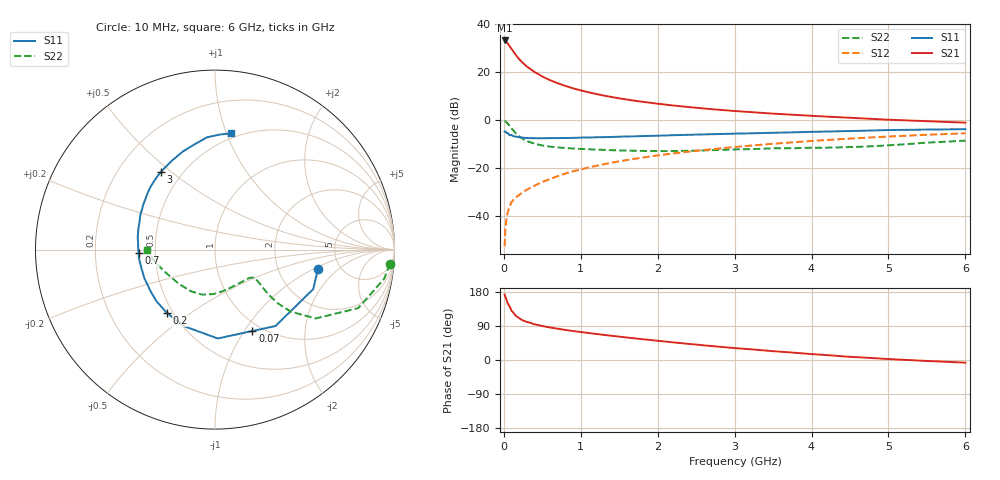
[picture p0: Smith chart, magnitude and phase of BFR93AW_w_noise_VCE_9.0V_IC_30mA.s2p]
! Infineon Technologies  Discrete & RF Semiconductors
! BFR93AW
! VCE =  9.0 V,  IC =  30 mA
! Common Emitter S-Parameters:  Jan 2017
# GHz  S  MA  R  50
!  f  S11  S21  S12  S22
! GHz  MAG  ANG  MAG  ANG  MAG  ANG  MAG  ANG
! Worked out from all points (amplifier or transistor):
!   77 points, 10 MHz to 6 GHz, reference 50 ohm
!   highest |S21| = 33.2 dB at 10 MHz (marker M1)
!   |S21| within 3 dB of that: start of sweep to 87.89 MHz
!   unconditionally stable (mu >= 1): 593.7 MHz to 2.035 GHz
!   at 130 MHz: K = 0.50, MSG = 30.6 dB, |S12| = -32.9 dB
!   at 2.2 GHz: K = 0.99, MSG = 10.0 dB, |S12| = -13.8 dB
!   at 6 GHz: K = 0.86, MSG = 2.2 dB, |S12| = -5.4 dB
!   lowest NFmin = 1.79 dB at 450 MHz
!   S11 on the Smith chart (normalised r, x): 10 MHz: 3.39, -1.13; 70 MHz: 0.90, -1.09; 200 MHz: 0.46, -0.41; 700 MHz: 0.40, -0.02; 3 GHz: 0.38, +0.46; 6 GHz: 0.46, +1.04
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0.01  0.5835 -10.9  45.88 172.8  0.0024 84.1  0.9768 -4.7
0.02  0.5899 -21.9  45.67 166.7  0.0054 83.7  0.9566 -9.8
0.05  0.543 -51.6  40.16 149.7  0.0122 68.9  0.8621 -22.2
0.07  0.4991 -65.3  35.83 143.0  0.0152 66.0  0.785 -26.4
0.1  0.4954 -88.2  30.56 129.8  0.0198 63.4  0.6794 -34.4
0.15  0.4601 -111.8  23.46 117.8  0.0246 58.8  0.5456 -39.3
0.2  0.4429 -127.4  18.69 110.0  0.0279 60.0  0.4616 -40.5
0.25  0.435 -138.3  15.47 104.3  0.0324 59.7  0.4073 -40.2
0.3  0.4278 -146.7  13.1 100.4  0.0358 62.0  0.3689 -39.5
0.4  0.4245 -157.9  10.08 94.2  0.0436 64.8  0.325 -37.8
0.5  0.4227 -166.0  8.145 89.7  0.0519 66.3  0.299 -36.6
0.6  0.4256 -172.4  6.854 85.8  0.0599 67.8  0.2833 -36.0
0.7  0.4265 -177.4  5.903 82.6  0.0688 69.5  0.2728 -35.7
0.9  0.4306 174.5  4.627 76.5  0.0867 69.7  0.2588 -37.1
1.1  0.4386 167.6  3.831 71.3  0.1041 70.0  0.2496 -39.4
1.5  0.4556 156.4  2.864 61.7  0.1397 68.7  0.236 -47.1
2.1  0.4833 142.4  2.122 48.7  0.1948 64.8  0.2287 -64.3
3  0.5279 124.9  1.561 31.4  0.2777 57.5  0.2479 -92.2
3.1  0.5313 123.1  1.522 29.9  0.2869 56.5  0.2494 -95.0
4.1  0.5791 106.6  1.216 14.3  0.38 46.7  0.2684 -123.8
5.1  0.6293 92.8  1.014 1.5  0.4673 35.9  0.3084 -157.6
6  0.6537 82.1  0.893 -7.1  0.5366 25.8  0.3774 -179.6
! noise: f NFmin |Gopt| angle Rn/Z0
0.45  1.79  0.18  173  0.16
0.9  2.06  0.26  -175  0.16
1.9  3.1  0.5  -135  0.29
2.4  3.75  0.55  -124  0.55
